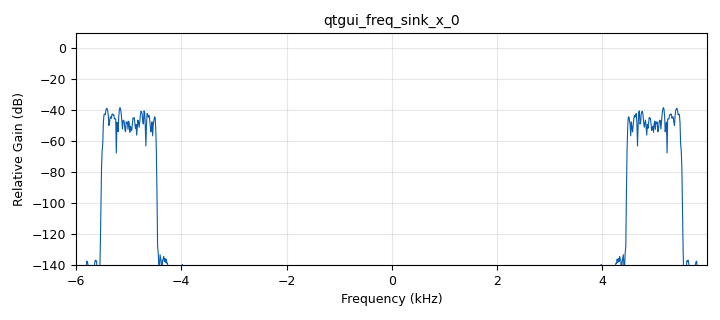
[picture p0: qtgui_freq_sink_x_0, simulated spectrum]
options:
  parameters:
    generate_options: qt_gui
    id: bandpass_1_6
    output_language: python
    title: Chapter1 BandPassExample
  states: {}

blocks:
- name: b
  id: variable_qtgui_range
  parameters:
    comment: Bandwidth
    start: '0'
    step: '10'
    stop: '10000'
    value: '1000'
  states: {}
- name: f
  id: variable_qtgui_range
  parameters:
    comment: Center frequency
    start: '0'
    step: '10'
    stop: '10000'
    value: '5000'
  states: {}
- name: samp_rate
  id: variable
  parameters:
    comment: |-
      Selecting a sampling rate 
      compatible with the sound card
    value: '96000'
  states: {}
- name: analog_noise_source_x_0
  id: analog_noise_source_x
  parameters:
    amp: '1'
    noise_type: analog.GR_GAUSSIAN
    seed: '0'
    type: float
  states: {}
- name: band_pass_filter_0
  id: band_pass_filter
  parameters:
    decim: '8'
    gain: '1'
    high_cutoff_freq: f+b/2
    low_cutoff_freq: f-b/2
    samp_rate: samp_rate
    type: fir_filter_fff
    width: '1'
    win: window.WIN_HAMMING
  states: {}
- name: blocks_throttle2_0
  id: blocks_throttle2
  parameters:
    samples_per_second: samp_rate
    type: float
  states: {}
- name: qtgui_freq_sink_x_0
  id: qtgui_freq_sink_x
  parameters:
    bw: samp_rate/8
    fc: '0'
    fftsize: '1024'
    type: float
  states: {}

connections:
- [analog_noise_source_x_0, '0', blocks_throttle2_0, '0']
- [band_pass_filter_0, '0', qtgui_freq_sink_x_0, '0']
- [blocks_throttle2_0, '0', band_pass_filter_0, '0']

metadata:
  file_format: 1
  grc_version: 3.10.12.0
